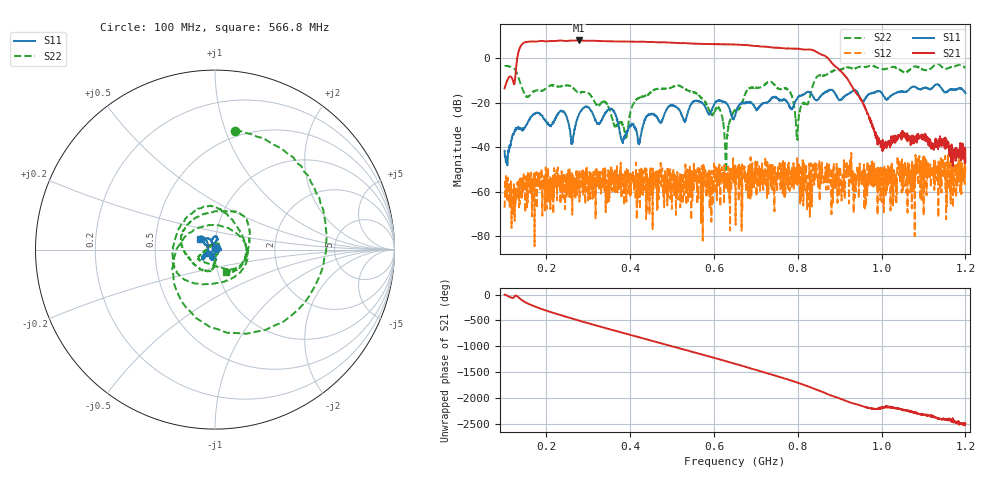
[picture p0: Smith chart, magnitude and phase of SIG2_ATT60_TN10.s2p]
# Hz S DB R 50
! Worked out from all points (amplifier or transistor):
!   1601 points, 100 MHz to 1.2 GHz, reference 50 ohm
!   highest |S21| = 8.0 dB at 276.7 MHz (marker M1)
!   |S21| within 3 dB of that: 137.1 MHz to 731.1 MHz (594 MHz wide, 137 % of centre)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
!   unconditionally stable (mu >= 1): start of sweep to end of sweep
!   at 282.9 MHz: K = 93.54, MAG = 8.1 dB, |S12| = -53.7 dB
!   at 650 MHz: K = 171.52, MAG = 6.2 dB, |S12| = -57.0 dB
!   at 1.2 GHz: K = 22506.64, MAG = -44.4 dB, |S12| = -50.8 dB
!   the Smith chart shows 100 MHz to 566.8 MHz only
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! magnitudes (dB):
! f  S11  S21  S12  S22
! 100 MHz  -41.7  -13.5  -67.3  -3.5
! 146.1 MHz  -31.3  7.0  -53.5  -15.3
! 237.5 MHz  -24.0  7.9  -53.6  -12.5
! 262.2 MHz  -38.0  8.0  -53.1  -13.2
! 276.7 MHz  -25.9  8.0  -56.9  -15.3
! 283.6 MHz  -23.6  8.0  -56.7  -15.3
! 324.1 MHz  -29.3  7.8  -56.4  -21.3
! 355.1 MHz  -22.7  7.6  -48.7  -26.0
! 388.8 MHz  -34.6  7.5  -55.8  -34.7
! 411.4 MHz  -31.0  7.5  -56.6  -19.4
! 467.1 MHz  -28.1  7.2  -53.4  -13.7
! 610.8 MHz  -19.3  6.3  -58.4  -22.6
! 628 MHz  -19.9  6.3  -56.5  -48.9
! 650 MHz  -26.0  6.2  -57.0  -23.8
! 734.6 MHz  -18.5  5.0  -48.4  -10.6
! 780.6 MHz  -21.6  4.4  -59.7  -15.0
! 799.2 MHz  -17.9  4.3  -56.9  -36.8
! 833.6 MHz  -16.4  3.8  -66.7  -13.7
! 914 MHz  -16.8  -8.2  -52.5  -4.2
! 1.017 GHz  -17.7  -38.6  -52.8  -4.3
! 1.099 GHz  -13.4  -34.5  -54.4  -5.1
! 1.2 GHz  -15.7  -46.6  -50.8  -4.2
